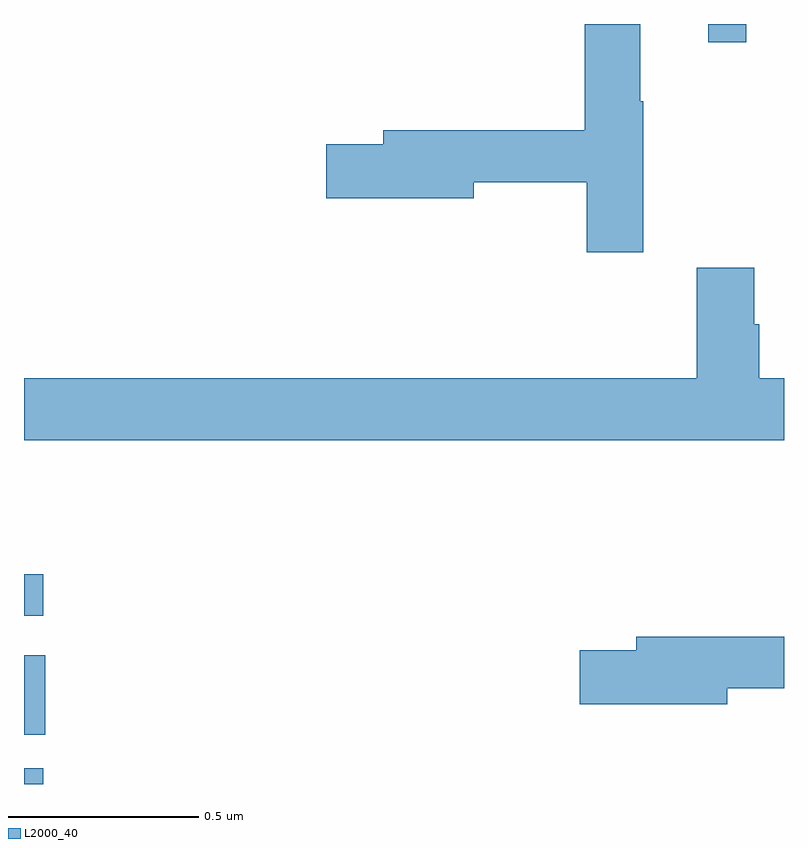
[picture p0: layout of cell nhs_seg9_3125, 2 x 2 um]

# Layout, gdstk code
import gdstk
lib = gdstk.Library(unit=1e-6, precision=1e-09)
def R(c, l, rs):  # rectangles x0, y0, x1, y1
    for r in rs: c.add(gdstk.rectangle(r[:2], r[2:], *l))
def P(c, l, *ps):  # polygons
    for p in ps: c.add(gdstk.Polygon(p, *l))
L2000_40 = (2000, 40)

nhs_seg9_3125 = lib.new_cell('nhs_seg9_3125')
R(nhs_seg9_3125, L2000_40, [(149,1211.5,149.05,1211.541), (149,1211.63,149.056,1211.839), (149,1211.943,149.05,1212.052), (150.8,1213.452,150.9,1213.5)])
P(nhs_seg9_3125, L2000_40, [(150.63,1213.297),(150.622,1213.297),(150.622,1213.5),(150.476,1213.5),(150.476,1213.22),(149.945,1213.22),(149.945,1213.184),(149.796,1213.184),(149.796,1213.042),(150.184,1213.042),(150.184,1213.084),(150.481,1213.084),(150.481,1212.9),(150.63,1212.9)],
  [(151,1212.568),(150.935,1212.568),(150.935,1212.71),(150.922,1212.71),(150.922,1212.859),(150.77,1212.859),(150.77,1212.568),(149,1212.568),(149,1212.404),(151,1212.404)],
  [(150.85,1211.752),(151,1211.752),(151,1211.888),(150.611,1211.888),(150.611,1211.852),(150.462,1211.852),(150.462,1211.71),(150.85,1211.71)])

lib.write_gds('nhs_seg9_3125.gds')
